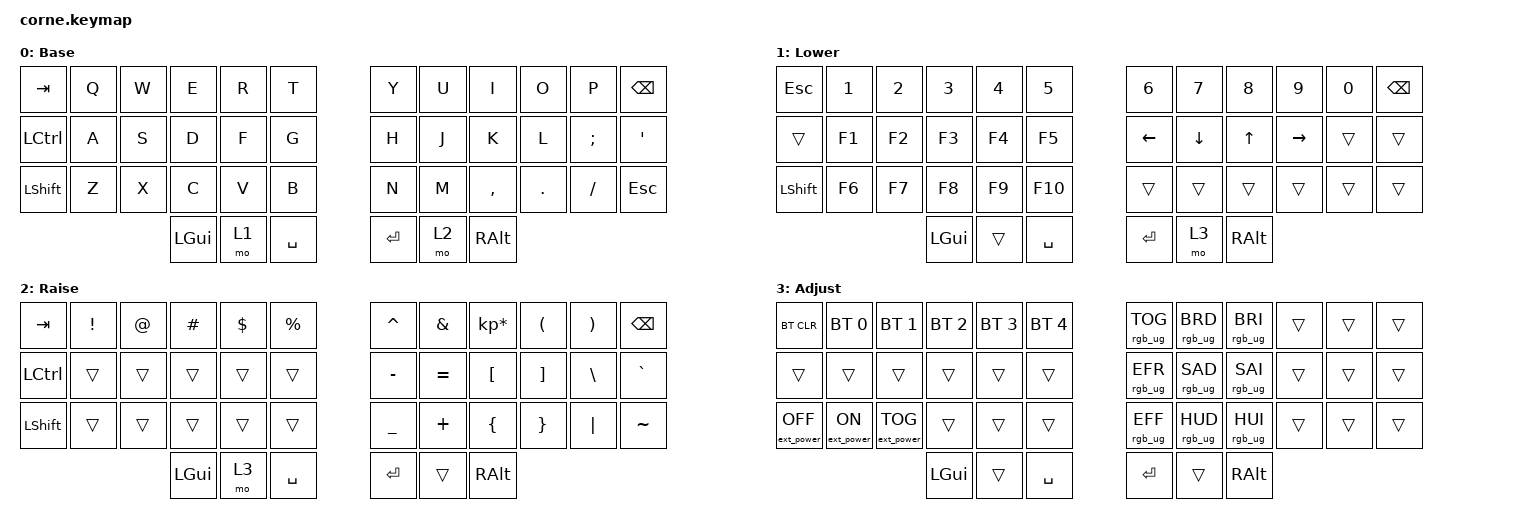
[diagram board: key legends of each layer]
/*
 * Copyright (c) 2020 The ZMK Contributors
 *
 * SPDX-License-Identifier: MIT
 */

#include <behaviors.dtsi>
#include <dt-bindings/zmk/keys.h>
#include <dt-bindings/zmk/bt.h>
#include <dt-bindings/zmk/ext_power.h>
#include <dt-bindings/zmk/outputs.h>
#include <dt-bindings/zmk/rgb.h>

// Overwrite LEDs quantity per side
&led_strip { chain-length = <27>; };

// Define layers
#define BASE 0
#define LOWER 1
#define RAISE 2
#define ADJUST 3


/ {
        chosen {
                zmk,battery = &vbatt;
        };
        
        vbatt: vbatt {
                compatible = "zmk,battery-nrf-vddh";
                label = "VBATT";
        };

        keymap {
                compatible = "zmk,keymap";

                default_layer {
                        label = "Base";
// -----------------------------------------------------------------------------------------
// | TAB  |  Q  |  W  |  E  |  R  |  T  |   |  Y  |  U  |  I  |  O  |  P  | BKSP |
// | CTRL |  A  |  S  |  D  |  F  |  G  |   |  H  |  J  |  K  |  L  |  ;  |  '   |
// | SHFT |  Z  |  X  |  C  |  V  |  B  |   |  N  |  M  |  ,  |  .  |  /  | ESC  |
//                    | GUI | LWR | SPC |   | ENT | RSE | ALT |
                        bindings = <
   &kp TAB    &kp Q  &kp W  &kp E &kp R  &kp T    &kp Y  &kp U  &kp I      &kp O    &kp P     &kp BSPC
   &kp LCTRL  &kp A  &kp S  &kp D &kp F  &kp G    &kp H  &kp J  &kp K      &kp L    &kp SEMI  &kp SQT
   &kp LSHFT  &kp Z  &kp X  &kp C &kp V  &kp B    &kp N  &kp M  &kp COMMA  &kp DOT  &kp FSLH  &kp ESC
                    &kp LGUI  &mo 1  &kp SPACE    &kp RET  &mo 2  &kp RALT
                        >;
                };

                lower_layer {
                        label = "Lower";
// -----------------------------------------------------------------------------------------
// | TAB   |  1  |  2  |  3  |  4  |  5  |   |  6  |  7   |  8  |  9  |  0  | BKSP |
// | BTCLR | F1  | F2  | F3  | F4  | F5  |   | LFT | DWN  |  UP | RGT |     |      |
// | SHFT  | F6  | F7  | F8  | F9  | F10 |   |     |      |     |     |     |      |
//                     | GUI |     | SPC |   | ENT | ADJU | ALT |
                        bindings = <
   &kp ESC    &kp N1  &kp N2  &kp N3  &kp N4  &kp N5     &kp N6    &kp N7    &kp N8  &kp N9     &kp N0  &kp BSPC
   &trans     &kp F1  &kp F2  &kp F3  &kp F4  &kp F5     &kp LEFT  &kp DOWN  &kp UP  &kp RIGHT  &trans  &trans
   &kp LSHFT  &kp F6  &kp F7  &kp F8  &kp F9  &kp F10    &trans    &trans    &trans  &trans     &trans  &trans
                          &kp LGUI  &trans  &kp SPACE    &kp RET  &mo 3  &kp RALT
                        >;
                };

                raise_layer {
                        label = "Raise";
// -----------------------------------------------------------------------------------------
// | TAB  |  !  |  @  |  #  |  $   |  %  |   |  ^  |  &  |  *  |  (  |  )  | BKSP |
// | CTRL |     |     |     |      |     |   |  -  |  =  |  [  |  ]  |  \  |  `   |
// | SHFT |     |     |     |      |     |   |  _  |  +  |  {  |  }  | "|" |  ~   |
//                    | GUI | ADJU | SPC |   | ENT |     | ALT |
                        bindings = <
   &kp  TAB   &kp EXCL  &kp AT  &kp HASH  &kp DLLR  &kp PRCNT   &kp CARET  &kp AMPS   &kp KP_MULTIPLY  &kp LPAR  &kp RPAR  &kp BSPC
   &kp LCTRL  &trans    &trans  &trans    &trans    &trans      &kp MINUS  &kp EQUAL  &kp LBKT         &kp RBKT  &kp BSLH  &kp GRAVE
   &kp LSHFT  &trans    &trans  &trans    &trans    &trans      &kp UNDER  &kp PLUS   &kp LBRC         &kp RBRC  &kp PIPE  &kp TILDE
                                &kp LGUI  &mo 3  &kp SPACE      &kp RET  &trans  &kp RALT
                        >;
                };

                adjust_layer {
                        label = "Adjust";
// -----------------------------------------------------------------------------------------
// | BT CLR | BT 0  | BT 1   | BT 2 | BT 3 | BT 4 |   | RGB TOG | RGB BRD | RGB BRI |     |     |      |
// |        |       |        |      |      |      |   | RGB EFR | RGB SAD | RGB SAI |     |     |      |
// | EP OFF | EP ON | EP TOG |      |      |      |   | RGB EFF | RGB HUD | RGB HUI |     |     |      |
//                           | GUI  |      | SPC  |   | ENT     |         | ALT     |
                        bindings = <
   &bt BT_CLR         &bt BT_SEL 0      &bt BT_SEL 1       &bt BT_SEL 2  &bt BT_SEL 3  &bt BT_SEL 4    &rgb_ug RGB_TOG  &rgb_ug RGB_BRD  &rgb_ug RGB_BRI  &trans  &trans  &trans
   &trans             &trans            &trans             &trans        &trans        &trans          &rgb_ug RGB_EFR  &rgb_ug RGB_SAD  &rgb_ug RGB_SAI  &trans  &trans  &trans
   &ext_power EP_OFF  &ext_power EP_ON  &ext_power EP_TOG  &trans        &trans        &trans          &rgb_ug RGB_EFF  &rgb_ug RGB_HUD  &rgb_ug RGB_HUI  &trans  &trans  &trans
                                                                  &kp LGUI  &trans  &kp SPACE          &kp RET  &trans  &kp RALT
                        >;
                };
        };
};
